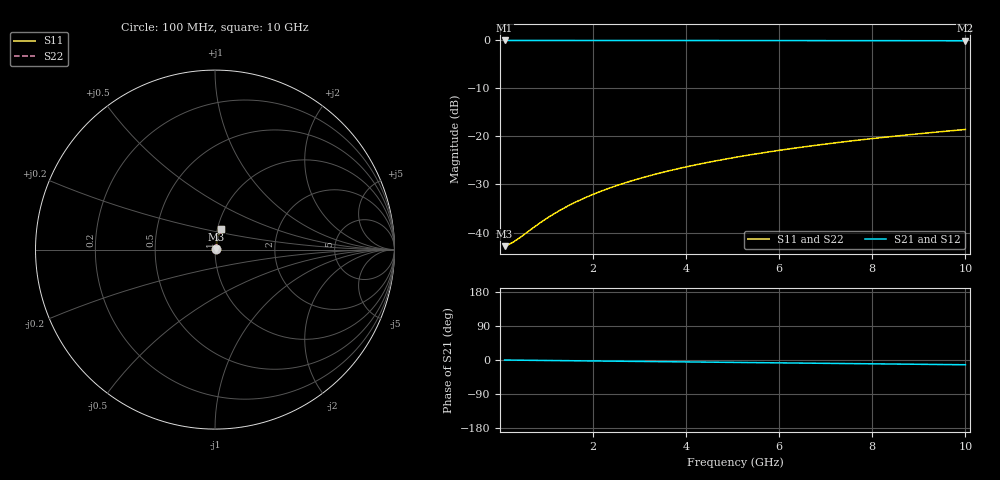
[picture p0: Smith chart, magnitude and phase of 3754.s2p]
# Hz S RI R 50.00
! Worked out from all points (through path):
!   100 points, 100 MHz to 10 GHz, reference 50 ohm
!   highest |S21| = -0.06 dB at 100 MHz (marker M1); lowest = -0.1 dB at 10 GHz (marker M2)
!   group delay of S21, straight-line fit = 3.49 ps
!   lowest |S11| = -42.8 dB at 100 MHz (marker M3), VSWR 1.01, Z = 50.7 + j0.119 ohm
!   |S11| at or under -10 dB: start of sweep to end of sweep
!   |S22| runs from -42.8 to -18.6 dB; largest |S21 - S12| = 0
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1e8  0.00713 0.00118  0.9929 -0.00218  0.9929 -0.00218  0.00713 0.00118
2e8  0.00718 0.00235  0.9928 -0.00437  0.9928 -0.00437  0.00718 0.00235
3e8  0.00723 0.00353  0.9928 -0.00655  0.9928 -0.00655  0.00723 0.00353
4e8  0.00727 0.0047  0.9927 -0.00873  0.9927 -0.00873  0.00727 0.0047
9e8  0.00754 0.0106  0.9924 -0.0196  0.9924 -0.0196  0.00754 0.0106
1.2e9  0.00774 0.0141  0.9922 -0.0262  0.9922 -0.0262  0.00774 0.0141
1.5e9  0.00798 0.0176  0.9919 -0.0327  0.9919 -0.0327  0.00798 0.0176
1.8e9  0.00827 0.0211  0.9915 -0.0393  0.9915 -0.0393  0.00827 0.0211
2.1e9  0.0086 0.0246  0.9912 -0.0458  0.9912 -0.0458  0.0086 0.0246
2.5e9  0.00911 0.0293  0.9905 -0.0545  0.9905 -0.0545  0.00911 0.0293
2.9e9  0.0097 0.034  0.9898 -0.0632  0.9898 -0.0632  0.0097 0.034
3.4e9  0.0105 0.0398  0.9888 -0.074  0.9888 -0.074  0.0105 0.0398
3.8e9  0.0113 0.0444  0.9879 -0.0827  0.9879 -0.0827  0.0113 0.0444
4.2e9  0.0122 0.049  0.9869 -0.0913  0.9869 -0.0913  0.0122 0.049
4.6e9  0.0131 0.0536  0.9858 -0.1  0.9858 -0.1  0.0131 0.0536
5.1e9  0.0144 0.0593  0.9843 -0.1107  0.9843 -0.1107  0.0144 0.0593
5.9e9  0.0166 0.0684  0.9815 -0.1279  0.9815 -0.1279  0.0166 0.0684
6.7e9  0.0192 0.0774  0.9784 -0.1449  0.9784 -0.1449  0.0192 0.0774
7.5e9  0.0222 0.0862  0.9749 -0.1619  0.9749 -0.1619  0.0222 0.0862
8.4e9  0.0258 0.0961  0.9705 -0.1808  0.9705 -0.1808  0.0258 0.0961
9.2e9  0.0293 0.1047  0.9662 -0.1975  0.9662 -0.1975  0.0293 0.1047
1e10  0.0332 0.1131  0.9616 -0.2141  0.9616 -0.2141  0.0332 0.1131
